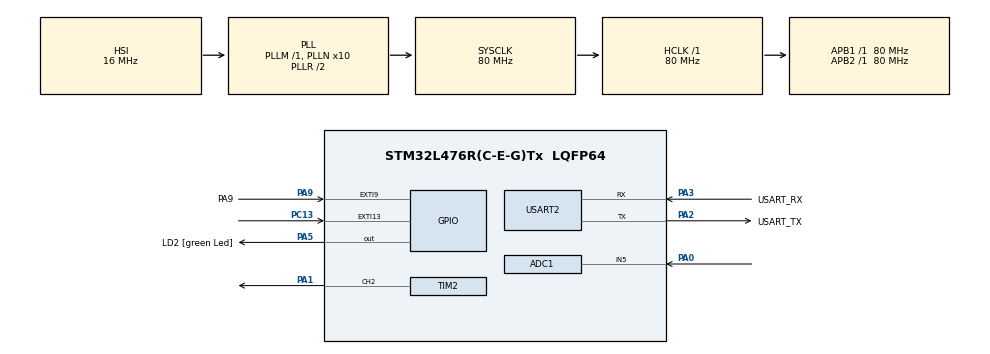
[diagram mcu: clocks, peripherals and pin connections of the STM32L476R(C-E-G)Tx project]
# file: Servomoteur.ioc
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ADC1.Channel-1\#ChannelRegularConversion=ADC_CHANNEL_5
ADC1.NbrOfConversionFlag=1
ADC1.OffsetNumber-1\#ChannelRegularConversion=ADC_OFFSET_NONE
ADC1.Rank-1\#ChannelRegularConversion=1
ADC1.Resolution=ADC_RESOLUTION_12B
ADC1.SamplingTime-1\#ChannelRegularConversion=ADC_SAMPLETIME_2CYCLES_5
ADC1.master=1
Mcu.Family=STM32L4
Mcu.Name=STM32L476R(C-E-G)Tx
Mcu.Package=LQFP64
NVIC.EXTI9_5_IRQn=true\:0\:0\:false\:false\:true\:true\:true\:true
NVIC.PriorityGroup=NVIC_PRIORITYGROUP_4
PA0.Signal=ADCx_IN5
PA1.Signal=S_TIM2_CH2
PA13\ (JTMS-SWDIO).GPIO_Label=TMS
PA13\ (JTMS-SWDIO).Mode=Serial_Wire
PA13\ (JTMS-SWDIO).Signal=SYS_JTMS-SWDIO
PA14\ (JTCK-SWCLK).GPIO_Label=TCK
PA14\ (JTCK-SWCLK).Mode=Serial_Wire
PA14\ (JTCK-SWCLK).Signal=SYS_JTCK-SWCLK
PA2.GPIO_Label=USART_TX
PA2.GPIO_Mode=GPIO_MODE_AF_PP
PA2.GPIO_PuPd=GPIO_NOPULL
PA2.GPIO_Speed=GPIO_SPEED_FREQ_VERY_HIGH
PA2.Mode=Asynchronous
PA2.Signal=USART2_TX
PA3.GPIO_Label=USART_RX
PA3.GPIO_Mode=GPIO_MODE_AF_PP
PA3.GPIO_PuPd=GPIO_NOPULL
PA3.GPIO_Speed=GPIO_SPEED_FREQ_VERY_HIGH
PA3.Mode=Asynchronous
PA3.Signal=USART2_RX
PA5.GPIO_Label=LD2 [green Led]
PA5.GPIO_ModeDefaultOutputPP=GPIO_MODE_OUTPUT_PP
PA5.GPIO_PuPd=GPIO_NOPULL
PA5.GPIO_Speed=GPIO_SPEED_FREQ_LOW
PA5.Signal=GPIO_Output
PA9.GPIO_Label=PA9
PA9.GPIO_PuPd=GPIO_NOPULL
PA9.Signal=GPXTI9
PB3\ (JTDO-TRACESWO).GPIO_Label=SWO
PB3\ (JTDO-TRACESWO).Signal=SYS_JTDO-SWO
PC13.Signal=GPXTI13
PC14-OSC32_IN\ (PC14).Mode=LSE-External-Oscillator
PC14-OSC32_IN\ (PC14).Signal=RCC_OSC32_IN
PC15-OSC32_OUT\ (PC15).Mode=LSE-External-Oscillator
PC15-OSC32_OUT\ (PC15).Signal=RCC_OSC32_OUT
PH0-OSC_IN\ (PH0).Signal=RCC_OSC_IN
PH1-OSC_OUT\ (PH1).Signal=RCC_OSC_OUT
ProjectManager.HeapSize=0x200
ProjectManager.StackSize=0x400
ProjectManager.TargetToolchain=STM32CubeIDE
RCC.ADCFreq_Value=64000000
RCC.AHBFreq_Value=80000000
RCC.APB1Freq_Value=80000000
RCC.APB1TimFreq_Value=80000000
RCC.APB2Freq_Value=80000000
RCC.APB2TimFreq_Value=80000000
RCC.CortexFreq_Value=80000000
RCC.HCLKFreq_Value=80000000
RCC.HSE_VALUE=8000000
RCC.HSI_VALUE=16000000
RCC.MSI_VALUE=4000000
RCC.PLLN=10
RCC.PLLSourceVirtual=RCC_PLLSOURCE_HSI
RCC.PREFETCH_ENABLE=1
RCC.SYSCLKFreq_VALUE=80000000
RCC.SYSCLKSource=RCC_SYSCLKSOURCE_PLLCLK
RCC.USBFreq_Value=64000000
RCC.VCOOutputFreq_Value=160000000
SH.ADCx_IN5.0=ADC1_IN5,IN5-Single-Ended
SH.S_TIM2_CH2.0=TIM2_CH2,PWM Generation2 CH2
TIM2.Channel-PWM\ Generation2\ CH2=TIM_CHANNEL_2
TIM2.Period=19999
TIM2.Prescaler=79
USART2.VirtualMode-Asynchronous=VM_ASYNC
VP_TIM2_VS_ClockSourceINT.Mode=Internal
board=NUCLEO-L476RG

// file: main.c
/* USER CODE BEGIN Header */
/**
  ******************************************************************************
  * @file           : main.c
  * @brief          : Main program body
  ******************************************************************************
  * @attention
  *
  * Copyright (c) 2023 STMicroelectronics.
  * All rights reserved.
  *
  * This software is licensed under terms that can be found in the LICENSE file
  * in the root directory of this software component.
  * If no LICENSE file comes with this software, it is provided AS-IS.
  *
  ******************************************************************************
  */
/* USER CODE END Header */
#include "main.h"
#include "adc.h"
#include "tim.h"
#include "usart.h"
#include "gpio.h"

/* USER CODE BEGIN PV */

const int positionMin = 750; //-45 deg
const int positionnul = 1600; //0 deg
const int positionMax = 2400; //+45 deg
/* USER CODE END PV */

void SystemClock_Config(void);

/* USER CODE BEGIN 0 */
uint8_t ButtonPressed;
uint16_t readValue;
/* USER CODE END 0 */

int main(void)
{

  /* MCU Configuration--------------------------------------------------------*/

  /* Reset of all peripherals, Initializes the Flash interface and the Systick. */
  HAL_Init();

  /* Configure the system clock */
  SystemClock_Config();

  /* Initialize all configured peripherals */
  MX_GPIO_Init();
  MX_USART2_UART_Init();
  MX_TIM2_Init();
  MX_ADC1_Init();
  /* USER CODE BEGIN 2 */
  HAL_TIM_PWM_Start(&htim2, TIM_CHANNEL_2);
  __HAL_TIM_SetCompare(&htim2, TIM_CHANNEL_2,positionnul);// initialisation à la poition 0 degré
  HAL_Delay(500);
  HAL_GPIO_EXTI_IRQHandler ( GPIO_PIN_9 );  // Réinitialiser l'interruption PIN9
  ButtonPressed=0;
  GPIO_PinState PinState;
  /* USER CODE END 2 */

  /* Infinite loop */
  /* USER CODE BEGIN WHILE */
  while (1)
  {

      if(ButtonPressed == 1)
      {
    	  while(ButtonPressed == 1){
     	  HAL_ADC_Start(&hadc1);
     	      HAL_ADC_PollForConversion(&hadc1,1000);
     	      readValue = HAL_ADC_GetValue(&hadc1);
     	      readValue = readValue/2.5;
     	      if (readValue >1600)
     	    	  readValue = 1600;
     	      __HAL_TIM_SetCompare(&htim2, TIM_CHANNEL_2,(750+readValue));
     	      HAL_ADC_Stop(&hadc1);}
	      }
	      else if (ButtonPressed == 0)
	      {
    	  	  for(int i = positionMin; i < positionMax; i += 10)
    	  	  {
	    		  __HAL_TIM_SetCompare(&htim2, TIM_CHANNEL_2,i);
	    		  HAL_Delay(20);
	    	  }
	      }
     // HAL_Delay(200);

    /* USER CODE END WHILE */

  }
}

void SystemClock_Config(void)
{
  RCC_OscInitTypeDef RCC_OscInitStruct = {0};
  RCC_ClkInitTypeDef RCC_ClkInitStruct = {0};

  /** Configure the main internal regulator output voltage
  */
  if (HAL_PWREx_ControlVoltageScaling(PWR_REGULATOR_VOLTAGE_SCALE1) != HAL_OK)
  {
    Error_Handler();
  }

  /** Initializes the RCC Oscillators according to the specified parameters
  * in the RCC_OscInitTypeDef structure.
  */
  RCC_OscInitStruct.OscillatorType = RCC_OSCILLATORTYPE_HSI;
  RCC_OscInitStruct.HSIState = RCC_HSI_ON;
  RCC_OscInitStruct.HSICalibrationValue = RCC_HSICALIBRATION_DEFAULT;
  RCC_OscInitStruct.PLL.PLLState = RCC_PLL_ON;
  RCC_OscInitStruct.PLL.PLLSource = RCC_PLLSOURCE_HSI;
  RCC_OscInitStruct.PLL.PLLM = 1;
  RCC_OscInitStruct.PLL.PLLN = 10;
  RCC_OscInitStruct.PLL.PLLP = RCC_PLLP_DIV7;
  RCC_OscInitStruct.PLL.PLLQ = RCC_PLLQ_DIV2;
  RCC_OscInitStruct.PLL.PLLR = RCC_PLLR_DIV2;
  if (HAL_RCC_OscConfig(&RCC_OscInitStruct) != HAL_OK)
  {
    Error_Handler();
  }

  /** Initializes the CPU, AHB and APB buses clocks
  */
  RCC_ClkInitStruct.ClockType = RCC_CLOCKTYPE_HCLK|RCC_CLOCKTYPE_SYSCLK
                              |RCC_CLOCKTYPE_PCLK1|RCC_CLOCKTYPE_PCLK2;
  RCC_ClkInitStruct.SYSCLKSource = RCC_SYSCLKSOURCE_PLLCLK;
  RCC_ClkInitStruct.AHBCLKDivider = RCC_SYSCLK_DIV1;
  RCC_ClkInitStruct.APB1CLKDivider = RCC_HCLK_DIV1;
  RCC_ClkInitStruct.APB2CLKDivider = RCC_HCLK_DIV1;

  if (HAL_RCC_ClockConfig(&RCC_ClkInitStruct, FLASH_LATENCY_4) != HAL_OK)
  {
    Error_Handler();
  }
}

/* USER CODE BEGIN 4 */
void retourBt(uint8_t bouton)
{
	ButtonPressed = bouton;

}
void HAL_GPIO_EXTI_Callback(uint16_t GPIO_Pin)
 {

	if (HAL_GPIO_ReadPin( PA9_GPIO_Port, GPIO_PIN_9) == GPIO_PIN_SET)
	{
		ButtonPressed = 1;
		//retourBt(ButtonPressed);
		HAL_GPIO_TogglePin(LD2_GPIO_Port, LD2_Pin);

		//HAL_Delay(20);
	}
	else if((HAL_GPIO_ReadPin( PA9_GPIO_Port, GPIO_PIN_9) == GPIO_PIN_SET)&&(ButtonPressed == 1))
	{
		ButtonPressed = 0;
		//HAL_Delay(20);
		//retourBt(ButtonPressed);
		HAL_GPIO_WritePin(LD2_GPIO_Port, LD2_Pin, GPIO_PIN_RESET);

		//
	}
 }
/* USER CODE END 4 */

void Error_Handler(void)
{
  __disable_irq();
  while (1)
  {
  }
}
